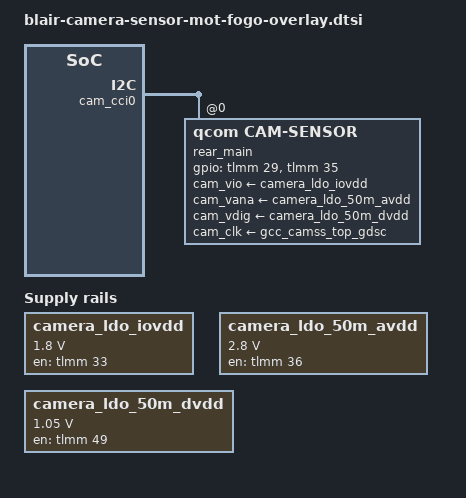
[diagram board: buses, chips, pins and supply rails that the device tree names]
#include <dt-bindings/clock/qcom,gcc-blair.h>
#include <dt-bindings/msm/msm-camera.h>

&tlmm {
    cam_sensor_mclk0_active: cam_sensor_mclk0_active {
        mux {
            pins = "gpio29";
            function = "cam_mclk";
        };

        config {
            pins = "gpio29";
            bias-disable; /* No PULL */
            drive-strength = <2>; /* 2 MA */
        };
    };

    cam_sensor_mclk0_suspend: cam_sensor_mclk0_suspend {
        mux {
            pins = "gpio29";
            function = "cam_mclk";
        };

        config {
            pins = "gpio29";
            bias-pull-down; /* PULL DOWN */
            drive-strength = <2>; /* 2 MA */
        };
    };

    cam_sensor_main_reset_active: cam_sensor_main_reset_active {
        mux {
            pins = "gpio35";
            function = "gpio";
        };

        config {
            pins = "gpio35";
            bias-disable; /* No PULL */
            drive-strength = <2>; /* 2 MA */
        };
    };

    cam_sensor_main_reset_suspend: cam_sensor_main_reset_suspend {
        mux {
            pins = "gpio35";
            function = "gpio";
        };

        config {
            pins = "gpio35";
            bias-pull-down; /* PULL DOWN */
            drive-strength = <2>; /* 2 MA */
            output-low;
        };
    };

    camera_ldo_iovdd_en: camera_ldo_iovdd_en {
        mux {
            pins = "gpio33";
            function = "gpio";
        };

        config {
            pins = "gpio33";
            bias-disable; /* No PULL */
            drive-strength = <2>; /* 2 MA */
        };
    };

  /* s5kjns avdd enable */
    camera_ldo_50m_avdd_en: camera_ldo_50m_avdd_en {
        mux {
            pins = "gpio36";
            function = "gpio";
        };

        config {
            pins = "gpio36";
            bias-disable; /* No PULL */
            drive-strength = <2>; /* 2 MA */
        };
    };

  /* s5kjns dvdd enable */
    camera_ldo_50m_dvdd_en: camera_ldo_50m_dvdd_en {
        mux {
            pins = "gpio49";
            function = "gpio";
        };

        config {
            pins = "gpio49";
            bias-disable; /* No PULL */
            drive-strength = <2>; /* 2 MA */
        };
    };
};

&soc {
    /*s5kjns s5k4h7 sc202acs iovdd*/
    camera_ldo_iovdd: gpio-regulator@0 {
        compatible = "regulator-fixed";
        reg = <0x00 0x00>;
        regulator-name = "camera_ldo_iovdd";
        regulator-min-microvolt = <1800000>;
        regulator-max-microvolt = <1800000>;
        regulator-enable-ramp-delay = <233>;
        enable-active-high;
        gpio = <&tlmm 33 0>;
        pinctrl-names = "default";
        pinctrl-0 = <&camera_ldo_iovdd_en>;
    };

    /*s5kjns avdd*/
    camera_ldo_50m_avdd: gpio-regulator@1 {
        compatible = "regulator-fixed";
        reg = <0x01 0x00>;
        regulator-name = "camera_ldo_50m_avdd";
        regulator-min-microvolt = <2800000>;
        regulator-max-microvolt = <2800000>;
        regulator-enable-ramp-delay = <233>;
        enable-active-high;
        gpio = <&tlmm 36 0>;
        pinctrl-names = "default";
        pinctrl-0 = <&camera_ldo_50m_avdd_en>;
    };

    /*s5kjns dvdd*/
    camera_ldo_50m_dvdd: gpio-regulator@2 {
        compatible = "regulator-fixed";
        reg = <0x02 0x00>;
        regulator-name = "camera_ldo_50m_dvdd";
        regulator-min-microvolt = <1050000>;
        regulator-max-microvolt = <1050000>;
        regulator-enable-ramp-delay = <233>;
        enable-active-high;
        gpio = <&tlmm 49 0>;
        pinctrl-names = "default";
        pinctrl-0 = <&camera_ldo_50m_dvdd_en>;
    };

    qcom,cam-res-mgr {
        compatible = "qcom,cam-res-mgr";
        status = "ok";
    };
};

&cam_cci0 {
    /* Rear s5kjns */
    rear_main: qcom,cam-sensor@0 {
        cell-index = <0>;
        compatible = "qcom,cam-sensor";
        csiphy-sd-index = <0>;
        sensor-position-roll = <90>;
        sensor-position-pitch = <0>;
        sensor-position-yaw = <180>;
        cam_vio-supply = <&camera_ldo_iovdd>;
        cam_vana-supply = <&camera_ldo_50m_avdd>;
        cam_vdig-supply = <&camera_ldo_50m_dvdd>;
        cam_clk-supply = <&gcc_camss_top_gdsc>;
        regulator-names ="cam_vio", "cam_vana", "cam_vdig", "cam_clk";
        rgltr-cntrl-support;
        rgltr-min-voltage = <1800000 2800000 1050000 0>;
        rgltr-max-voltage = <1800000 2800000 1050000 0>;
        rgltr-load-current = <120000 80000 1200000 0>;
        gpio-no-mux = <0>;
        pinctrl-names = "cam_default", "cam_suspend";
        pinctrl-0 = <&cam_sensor_mclk0_active &cam_sensor_main_reset_active>;
        pinctrl-1 = <&cam_sensor_mclk0_suspend &cam_sensor_main_reset_suspend>;
        gpios = <&tlmm 29 0>, <&tlmm 35 0>;
        gpio-reset = <1>;
        gpio-req-tbl-num = <0 1>;
        gpio-req-tbl-flags = <1 0>;
        gpio-req-tbl-label = "CAMIF_MCLK0", "CAM_RESET1";
        cci-master = <0>;
        status = "ok";
        clocks = <&gcc GCC_CAMSS_MCLK0_CLK>;
        clock-names = "cam_clk";
        clock-cntl-level = "turbo";
        clock-rates = <24000000>;
    };
};

&cam_cci1 {

};
